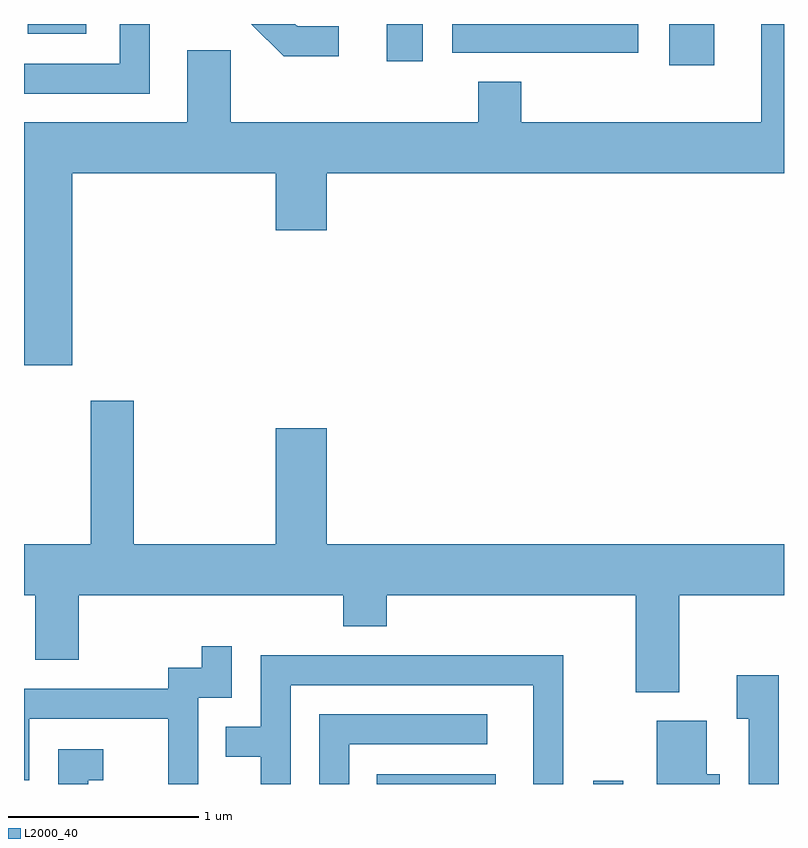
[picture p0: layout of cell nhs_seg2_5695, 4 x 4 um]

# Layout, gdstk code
import gdstk
lib = gdstk.Library(unit=1e-6, precision=1e-09)
def R(c, l, rs):  # rectangles x0, y0, x1, y1
    for r in rs: c.add(gdstk.rectangle(r[:2], r[2:], *l))
def P(c, l, *ps):  # polygons
    for p in ps: c.add(gdstk.Polygon(p, *l))
L2000_40 = (2000, 40)

nhs_seg2_5695 = lib.new_cell('nhs_seg2_5695')
R(nhs_seg2_5695, L2000_40, [(355.468,1011.802,356.094,1011.854), (356.606,1011.802,356.764,1011.818), (357.006,1015.586,357.244,1015.802), (355.521,1015.606,355.709,1015.802), (355.866,1015.651,356.844,1015.802), (353.631,1015.751,353.939,1015.802)])
P(nhs_seg2_5695, L2000_40, [(354.274,1015.802),(354.116,1015.802),(354.116,1015.594),(353.611,1015.594),(353.611,1015.436),(354.274,1015.436)],
  [(355.268,1015.789),(355.052,1015.789),(355.039,1015.802),(354.808,1015.802),(354.979,1015.631),(355.268,1015.631)],
  [(353.864,1015.016),(354.936,1015.016),(354.936,1014.716),(355.204,1014.716),(355.204,1015.016),(357.611,1015.016),(357.611,1015.802),(357.491,1015.802),(357.491,1015.284),(356.229,1015.284),(356.229,1015.499),(356.001,1015.499),(356.001,1015.284),(354.699,1015.284),(354.699,1015.664),(354.471,1015.664),(354.471,1015.284),(353.611,1015.284),(353.611,1014.006),(353.864,1014.006)],
  [(357.059,1012.796),(357.611,1012.796),(357.611,1013.064),(355.204,1013.064),(355.204,1013.674),(354.936,1013.674),(354.936,1013.064),(354.189,1013.064),(354.189,1013.819),(353.961,1013.819),(353.961,1013.064),(353.611,1013.064),(353.611,1012.796),(353.671,1012.796),(353.671,1012.456),(353.899,1012.456),(353.899,1012.796),(355.291,1012.796),(355.291,1012.631),(355.519,1012.631),(355.519,1012.796),(356.831,1012.796),(356.831,1012.286),(357.059,1012.286)],
  [(354.529,1012.256),(354.704,1012.256),(354.704,1012.528),(354.546,1012.528),(354.546,1012.414),(354.371,1012.414),(354.371,1012.304),(353.611,1012.304),(353.611,1011.821),(353.639,1011.821),(353.639,1012.146),(354.371,1012.146),(354.371,1011.802),(354.529,1011.802)],
  [(355.014,1012.321),(356.291,1012.321),(356.291,1011.802),(356.449,1011.802),(356.449,1012.479),(354.856,1012.479),(354.856,1012.104),(354.673,1012.104),(354.673,1011.946),(354.856,1011.946),(354.856,1011.802),(355.014,1011.802)],
  [(357.584,1012.374),(357.361,1012.374),(357.361,1012.146),(357.426,1012.146),(357.426,1011.802),(357.584,1011.802)],
  [(355.324,1012.011),(356.048,1012.011),(356.048,1012.169),(355.166,1012.169),(355.166,1011.802),(355.324,1011.802)],
  [(357.274,1011.854),(357.204,1011.854),(357.204,1012.134),(356.941,1012.134),(356.941,1011.802),(357.274,1011.802)],
  [(353.949,1011.821),(354.028,1011.821),(354.028,1011.984),(353.791,1011.984),(353.791,1011.802),(353.949,1011.802)])

lib.write_gds('nhs_seg2_5695.gds')
